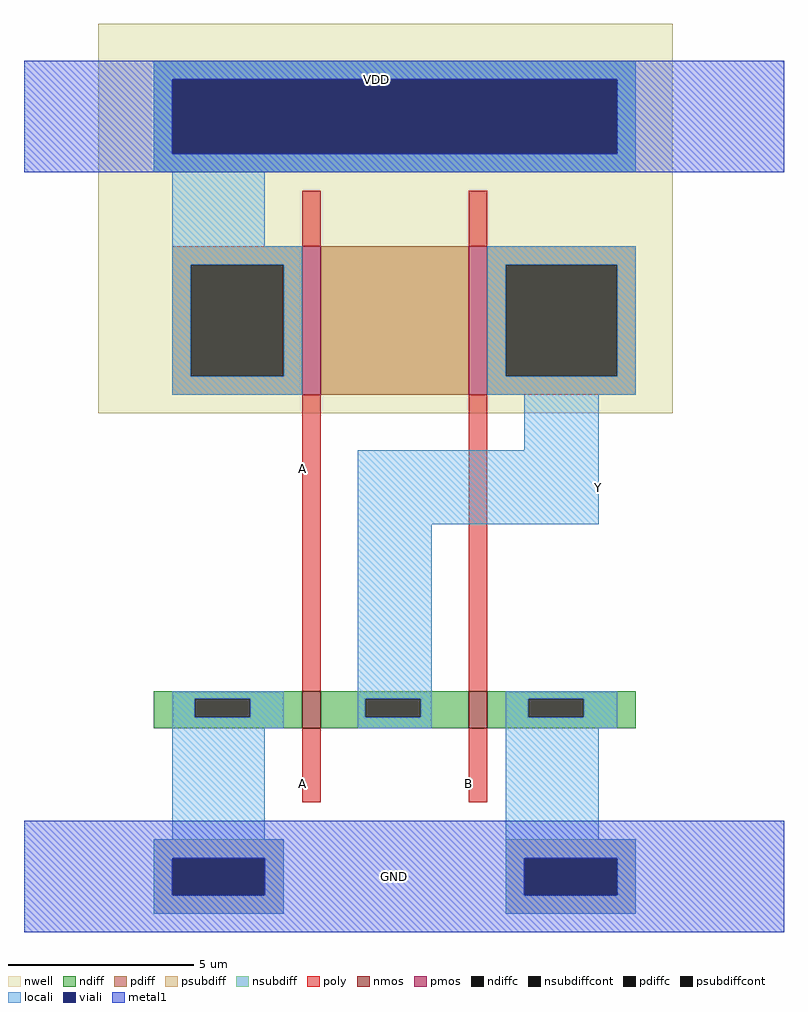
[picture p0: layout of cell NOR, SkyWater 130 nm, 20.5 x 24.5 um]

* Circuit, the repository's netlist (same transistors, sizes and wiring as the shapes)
** sch_path: /home/ee431/workspace/NOR/NOR.sch
.subckt NOR A B GND VDD Y
*.PININFO A:I B:I GND:B VDD:B Y:O
XM1 Y A GND GND sky130_fd_pr__nfet_01v8 L=0.5 W=1 nf=1 m=1
XM2 Y B GND GND sky130_fd_pr__nfet_01v8 L=0.5 W=1 nf=1 m=1
XM3 Y B net1 VDD sky130_fd_pr__pfet_01v8 L=0.5 W=4 nf=1 m=1
XM4 net1 A VDD VDD sky130_fd_pr__pfet_01v8 L=0.5 W=4 nf=1 m=1
.ends
.end

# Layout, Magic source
magic
tech sky130A
<< nwell >>
rect -500 150 1050 1200
<< nmos >>
rect 50 -700 100 -600
rect 500 -700 550 -600
<< pmos >>
rect 50 200 100 600
rect 500 200 550 600
<< ndiff >>
rect -350 -620 50 -600
rect -350 -670 -240 -620
rect -90 -670 50 -620
rect -350 -700 50 -670
rect 100 -620 500 -600
rect 100 -670 220 -620
rect 370 -670 500 -620
rect 100 -700 500 -670
rect 550 -620 950 -600
rect 550 -670 660 -620
rect 810 -670 950 -620
rect 550 -700 950 -670
<< pdiff >>
rect -300 550 50 600
rect -300 250 -250 550
rect 0 250 50 550
rect -300 200 50 250
rect 100 200 500 600
rect 550 550 950 600
rect 550 250 600 550
rect 900 250 950 550
rect 550 200 950 250
<< ndiffc >>
rect -240 -670 -90 -620
rect 220 -670 370 -620
rect 660 -670 810 -620
<< pdiffc >>
rect -250 250 0 550
rect 600 250 900 550
<< psubdiff >>
rect -350 -1050 0 -1000
rect -350 -1150 -300 -1050
rect -50 -1150 0 -1050
rect -350 -1200 0 -1150
rect 600 -1050 950 -1000
rect 600 -1150 650 -1050
rect 900 -1150 950 -1050
rect 600 -1200 950 -1150
<< nsubdiff >>
rect -350 1050 950 1100
rect -350 850 -300 1050
rect 900 850 950 1050
rect -350 800 950 850
<< psubdiffcont >>
rect -300 -1150 -50 -1050
rect 650 -1150 900 -1050
<< nsubdiffcont >>
rect -300 850 900 1050
<< poly >>
rect 50 600 100 750
rect 500 600 550 750
rect 50 -600 100 200
rect 500 -600 550 200
rect 50 -900 100 -700
rect 500 -900 550 -700
<< locali >>
rect -350 1050 950 1100
rect -350 850 -300 1050
rect 900 850 950 1050
rect -350 800 950 850
rect -300 600 -50 800
rect -300 550 50 600
rect -300 250 -250 550
rect 0 250 50 550
rect -300 200 50 250
rect 550 550 950 600
rect 550 250 600 550
rect 900 250 950 550
rect 550 200 950 250
rect 650 50 850 200
rect 200 -150 850 50
rect -300 -620 0 -600
rect -300 -670 -240 -620
rect -90 -670 0 -620
rect -300 -700 0 -670
rect 200 -620 400 -150
rect 200 -670 220 -620
rect 370 -670 400 -620
rect 200 -700 400 -670
rect 600 -620 900 -600
rect 600 -670 660 -620
rect 810 -670 900 -620
rect 600 -700 900 -670
rect -300 -1000 -50 -700
rect 600 -1000 850 -700
rect -350 -1050 0 -1000
rect -350 -1150 -300 -1050
rect -50 -1150 0 -1050
rect -350 -1200 0 -1150
rect 600 -1050 950 -1000
rect 600 -1150 650 -1050
rect 900 -1150 950 -1050
rect 600 -1200 950 -1150
<< viali >>
rect -300 850 900 1050
rect -300 -1150 -50 -1050
rect 650 -1150 900 -1050
<< metal1 >>
rect -700 1050 1350 1100
rect -700 850 -300 1050
rect 900 850 1350 1050
rect -700 800 1350 850
rect -700 -1050 1350 -950
rect -700 -1150 -300 -1050
rect -50 -1150 650 -1050
rect 900 -1150 1350 -1050
rect -700 -1250 1350 -1150
<< labels >>
rlabel poly 50 0 50 0 7 A
port 1 w default input
rlabel poly 50 -850 50 -850 7 A
rlabel poly 500 -850 500 -850 7 B
port 2 w default input
rlabel locali 850 -50 850 -50 3 Y
port 3 e default output
rlabel metal1 250 1050 250 1050 7 VDD
port 4 w power default
rlabel metal1 300 -1100 300 -1100 7 GND
port 5 w ground default
<< end >>
